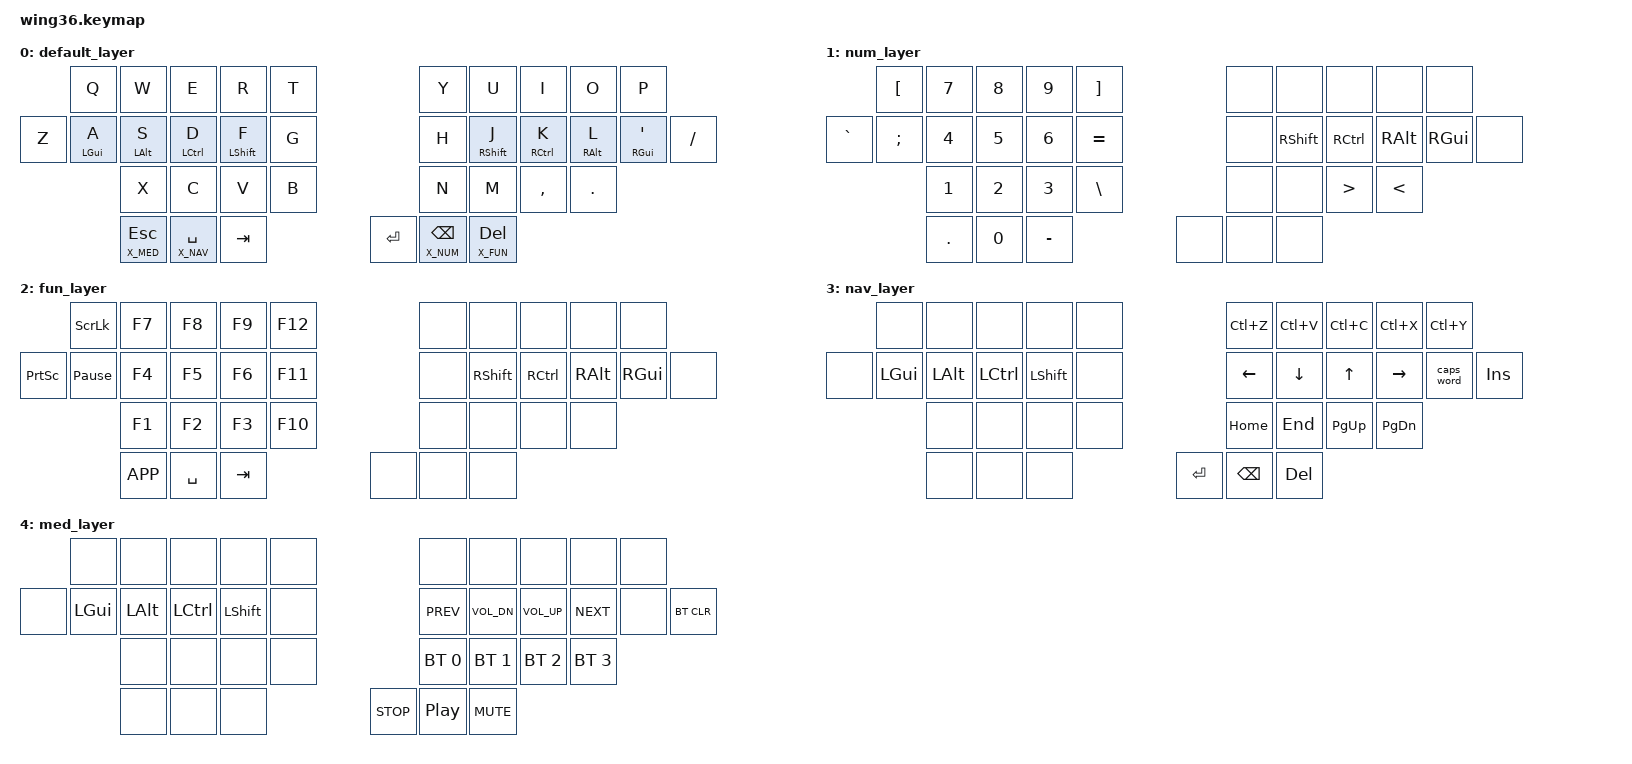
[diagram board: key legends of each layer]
#include <behaviors.dtsi>
#include <dt-bindings/zmk/keys.h>
#include <dt-bindings/zmk/bt.h>

#define DEFAULT 0
#define X_NUM   1
#define X_FUN   2
#define X_NAV   3
#define X_MED   4

&caps_word {
    continue-list = <UNDERSCORE MINUS>;
};

/ {
    behaviors {
        hm: homerow_mods {
            compatible = "zmk,behavior-hold-tap";
            label = "HOMEROW_MODS";
            #binding-cells = <2>;
            tapping-term-ms = <200>;
            quick-tap-ms = <0>;
            flavor = "tap-preferred";
            bindings = <&kp>, <&kp>;
        };
    };

    keymap {
        compatible = "zmk,keymap";
            
    //    default_layer {
    //        | SW2  | SW4  | SW7  | SW10 | SW13 |                              | SW21 | SW25 | SW28 | SW31 | SW34 |       
    // | SW1  | SW3  | SW5  | SW8  | SW11 | SW14 |                              | SW22 | SW26 | SW29 | SW32 | SW35 | SW36 |
    //               | SW6  | SW9  | SW12 | SW15 |                              | SW23 | SW27 | SW30 | SW33 |              
    //                                    | SW16 | SW17 | SW18 |  | SW19 | SW20 | SW24 |   
    //    bindings = <
    //              &kp Q &kp W &kp E &kp R &kp T 						                                      &kp T &kp R &kp E &kp W &kp Q 
    //    &bt BT_CLR &kp S &kp D &kp F &kp G &kp H			        	                                  &kp H &kp G &kp F &kp D &kp S &bt BT_CLR
    //                    &kp Z &kp X &kp C &kp V				                                          &kp V &kp C &kp X &kp Z 
    //                               &bt BT_NXT &bt BT_PRV &bt BT_SEL 1	  &bt BT_SEL 1 &bt BT_PRV &bt BT_NXT 
    //    >;
    //};
        default_layer {
        bindings = <
                  &kp Q &kp W &kp E &kp R &kp T 						                                    &kp Y &kp U &kp I &kp O &kp P 
        &kp Z &hm LGUI A &hm LALT S &hm LCTRL D &hm LSHFT F &kp G			        	                &kp H &hm RSHFT J &hm RCTRL K &hm RALT L &hm RGUI SQT &kp SLASH
                        &kp X &kp C &kp V &kp B				                                          &kp N &kp M &kp COMMA &kp DOT 
                                    &lt X_MED ESC &lt X_NAV SPC &kp TAB	                       &kp RET &lt X_NUM BSPC &lt X_FUN DEL
        >;
      };
        num_layer {
        bindings = <
                  &kp LBKT &kp N7 &kp N8 &kp N9 &kp RBKT 						                                    &none &none &none &none &none 
        &kp GRAVE &kp SEMI &kp N4 &kp N5 &kp N6 &kp EQL		        	                                    &none &kp RSHFT &kp RCTRL &kp RALT &kp RGUI &none
                        &kp N1 &kp N2 &kp N3 &kp BSLH				                                          &none &none &kp GT &kp LT 
                                    &kp DOT &kp N0 &kp MINUS	                                        &none &none &none
        >;
      };
        fun_layer {
        bindings = <
                  &kp SLCK &kp F7 &kp F8 &kp F9 &kp F12 						                                    &none &none &none &none &none 
        &kp PSCRN &kp PAUSE_BREAK &kp F4 &kp F5 &kp F6 &kp F11		        	                                    &none &kp RSHFT &kp RCTRL &kp RALT &kp RGUI &none
                           &kp F1 &kp F2 &kp F3 &kp F10				                                          &none &none &none &none 
                                    &kp K_APP &kp SPC &kp TAB	                                        &none &none &none
        >;
      };
        nav_layer {
        bindings = <
                  &none &none &none &none &none 						                                    &kp LC(Z) &kp LC(V) &kp LC(C) &kp LC(X) &kp LC(Y) 
        &none &kp LGUI &kp LALT &kp LCTRL &kp LSHFT &none		        	                                    &kp LEFT &kp DOWN &kp UP &kp RIGHT &caps_word &kp INS
                           &none &none &none &none				                                          &kp HOME &kp END &kp PG_UP &kp PG_DN 
                                    &none &none &none	                                        &kp RET &kp BSPC &kp DEL
        >;
      };
        med_layer {
        bindings = <
                  &none &none &none &none &none 						                                    &none &none &none &none &none
        &none &kp LGUI &kp LALT &kp LCTRL &kp LSHFT &none		        	                                &kp C_PREV &kp C_VOL_DN &kp C_VOL_UP &kp C_NEXT &none &bt BT_CLR
                           &none &none &none &none				                                          &bt BT_SEL 0 &bt BT_SEL 1 &bt BT_SEL 2 &bt BT_SEL 3 
                                    &none &none &none	                                        &kp C_STOP &kp C_PP &kp C_MUTE
        >;
      };
  };
};
